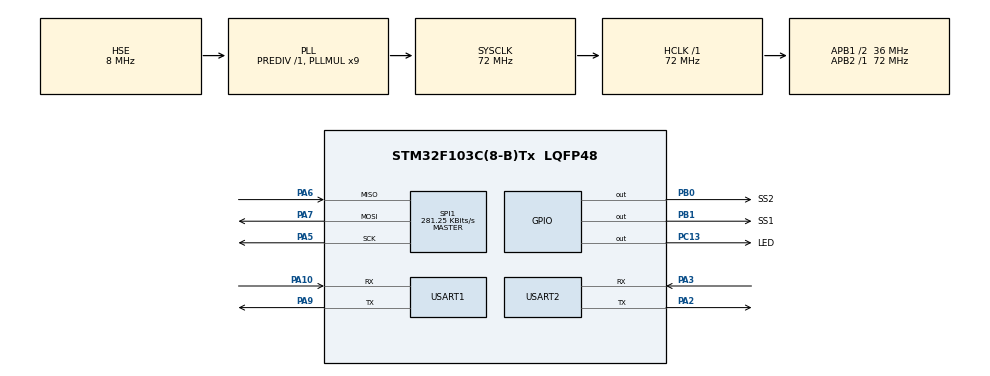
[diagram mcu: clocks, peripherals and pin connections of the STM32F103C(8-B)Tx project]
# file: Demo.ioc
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Dma.Request0=USART2_RX
Dma.Request1=USART1_RX
Dma.Request2=USART1_TX
Dma.Request3=SPI1_RX
Dma.Request4=SPI1_TX
Dma.SPI1_RX.3.Direction=DMA_PERIPH_TO_MEMORY
Dma.SPI1_RX.3.Instance=DMA1_Channel2
Dma.SPI1_RX.3.MemDataAlignment=DMA_MDATAALIGN_BYTE
Dma.SPI1_RX.3.MemInc=DMA_MINC_ENABLE
Dma.SPI1_RX.3.Mode=DMA_NORMAL
Dma.SPI1_RX.3.PeriphDataAlignment=DMA_PDATAALIGN_BYTE
Dma.SPI1_RX.3.PeriphInc=DMA_PINC_DISABLE
Dma.SPI1_RX.3.Priority=DMA_PRIORITY_LOW
Dma.SPI1_TX.4.Direction=DMA_MEMORY_TO_PERIPH
Dma.SPI1_TX.4.Instance=DMA1_Channel3
Dma.SPI1_TX.4.MemDataAlignment=DMA_MDATAALIGN_BYTE
Dma.SPI1_TX.4.MemInc=DMA_MINC_ENABLE
Dma.SPI1_TX.4.Mode=DMA_NORMAL
Dma.SPI1_TX.4.PeriphDataAlignment=DMA_PDATAALIGN_BYTE
Dma.SPI1_TX.4.PeriphInc=DMA_PINC_DISABLE
Dma.SPI1_TX.4.Priority=DMA_PRIORITY_LOW
Dma.USART1_RX.1.Direction=DMA_PERIPH_TO_MEMORY
Dma.USART1_RX.1.Instance=DMA1_Channel5
Dma.USART1_RX.1.MemDataAlignment=DMA_MDATAALIGN_BYTE
Dma.USART1_RX.1.MemInc=DMA_MINC_ENABLE
Dma.USART1_RX.1.Mode=DMA_NORMAL
Dma.USART1_RX.1.PeriphDataAlignment=DMA_PDATAALIGN_BYTE
Dma.USART1_RX.1.PeriphInc=DMA_PINC_DISABLE
Dma.USART1_RX.1.Priority=DMA_PRIORITY_LOW
Dma.USART1_TX.2.Direction=DMA_MEMORY_TO_PERIPH
Dma.USART1_TX.2.Instance=DMA1_Channel4
Dma.USART1_TX.2.MemDataAlignment=DMA_MDATAALIGN_BYTE
Dma.USART1_TX.2.MemInc=DMA_MINC_ENABLE
Dma.USART1_TX.2.Mode=DMA_CIRCULAR
Dma.USART1_TX.2.PeriphDataAlignment=DMA_PDATAALIGN_BYTE
Dma.USART1_TX.2.PeriphInc=DMA_PINC_DISABLE
Dma.USART1_TX.2.Priority=DMA_PRIORITY_LOW
Dma.USART2_RX.0.Direction=DMA_PERIPH_TO_MEMORY
Dma.USART2_RX.0.Instance=DMA1_Channel6
Dma.USART2_RX.0.MemDataAlignment=DMA_MDATAALIGN_BYTE
Dma.USART2_RX.0.MemInc=DMA_MINC_ENABLE
Dma.USART2_RX.0.Mode=DMA_NORMAL
Dma.USART2_RX.0.PeriphDataAlignment=DMA_PDATAALIGN_BYTE
Dma.USART2_RX.0.PeriphInc=DMA_PINC_DISABLE
Dma.USART2_RX.0.Priority=DMA_PRIORITY_LOW
Mcu.Family=STM32F1
Mcu.Name=STM32F103C(8-B)Tx
Mcu.Package=LQFP48
NVIC.DMA1_Channel2_IRQn=true\:0\:0\:false\:false\:true\:false\:true
NVIC.DMA1_Channel3_IRQn=true\:0\:0\:false\:false\:true\:false\:true
NVIC.DMA1_Channel4_IRQn=true\:0\:0\:false\:false\:true\:false\:true
NVIC.DMA1_Channel5_IRQn=true\:0\:0\:false\:false\:true\:false\:true
NVIC.DMA1_Channel6_IRQn=true\:0\:0\:false\:false\:true\:false\:true
NVIC.PriorityGroup=NVIC_PRIORITYGROUP_4
NVIC.SPI1_IRQn=true\:0\:0\:false\:false\:true\:true\:true
NVIC.TIM1_UP_IRQn=true\:0\:0\:false\:false\:true\:true\:true
PA10.Mode=Asynchronous
PA10.Signal=USART1_RX
PA13.Mode=Serial_Wire
PA13.Signal=SYS_JTMS-SWDIO
PA14.Mode=Serial_Wire
PA14.Signal=SYS_JTCK-SWCLK
PA2.Mode=Asynchronous
PA2.Signal=USART2_TX
PA3.Mode=Asynchronous
PA3.Signal=USART2_RX
PA5.Mode=Full_Duplex_Master
PA5.Signal=SPI1_SCK
PA6.Mode=Full_Duplex_Master
PA6.Signal=SPI1_MISO
PA7.Mode=Full_Duplex_Master
PA7.Signal=SPI1_MOSI
PA9.Mode=Asynchronous
PA9.Signal=USART1_TX
PB0.GPIO_Label=SS2
PB0.GPIO_PuPd=GPIO_PULLUP
PB0.Signal=GPIO_Output
PB1.GPIO_Label=SS1
PB1.GPIO_PuPd=GPIO_PULLUP
PB1.Signal=GPIO_Output
PC13-TAMPER-RTC.GPIO_Label=LED
PC13-TAMPER-RTC.Signal=GPIO_Output
PD0-OSC_IN.Mode=HSE-External-Oscillator
PD0-OSC_IN.Signal=RCC_OSC_IN
PD1-OSC_OUT.Mode=HSE-External-Oscillator
PD1-OSC_OUT.Signal=RCC_OSC_OUT
ProjectManager.HeapSize=0x200
ProjectManager.StackSize=0x400
ProjectManager.TargetToolchain=Makefile
RCC.AHBFreq_Value=72000000
RCC.APB1CLKDivider=RCC_HCLK_DIV2
RCC.APB1Freq_Value=36000000
RCC.APB1TimFreq_Value=72000000
RCC.APB2Freq_Value=72000000
RCC.APB2TimFreq_Value=72000000
RCC.HCLKFreq_Value=72000000
RCC.PLLMUL=RCC_PLL_MUL9
RCC.PLLSourceVirtual=RCC_PLLSOURCE_HSE
RCC.SYSCLKFreq_VALUE=72000000
RCC.SYSCLKSource=RCC_SYSCLKSOURCE_PLLCLK
RCC.USBFreq_Value=72000000
SPI1.BaudRatePrescaler=SPI_BAUDRATEPRESCALER_256
SPI1.CLKPhase=SPI_PHASE_2EDGE
SPI1.CalculateBaudRate=281.25 KBits/s
SPI1.DataSize=SPI_DATASIZE_16BIT
SPI1.Direction=SPI_DIRECTION_2LINES
SPI1.Mode=SPI_MODE_MASTER
SPI1.VirtualType=VM_MASTER
TIM1.AutoReloadPreload=TIM_AUTORELOAD_PRELOAD_ENABLE
TIM1.Period=7200
TIM1.Prescaler=1000
USART1.VirtualMode=VM_ASYNC
USART2.VirtualMode=VM_ASYNC
VP_TIM1_VS_ClockSourceINT.Mode=Internal
board=custom

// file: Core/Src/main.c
/* USER CODE BEGIN Header */
/**
  ******************************************************************************
  * @file           : main.c
  * @brief          : Main program body
  ******************************************************************************
  * @attention
  *
  * <h2><center>&copy; Copyright (c) 2020 STMicroelectronics.
  * All rights reserved.</center></h2>
  *
  * This software component is licensed by ST under BSD 3-Clause license,
  * the "License"; You may not use this file except in compliance with the
  * License. You may obtain a copy of the License at:
  *                        opensource.org/licenses/BSD-3-Clause
  *
  ******************************************************************************
  */
 #include <stdbool.h>
/* USER CODE END Header */
#include "main.h"

/* USER CODE BEGIN Includes */
#include "user_spi.h"
#include "linkfile.h"
uint8_t Rx_data[2];
uint8_t buffer[2];

volatile  bool Transfer_cplt = false;
/* USER CODE END Includes */

/* USER CODE BEGIN PM */
 SPIConf* SPI_Sensor ;
/* USER CODE END PM */

SPI_HandleTypeDef hspi1;
DMA_HandleTypeDef hdma_spi1_rx;
DMA_HandleTypeDef hdma_spi1_tx;

TIM_HandleTypeDef htim1;

UART_HandleTypeDef huart1;
UART_HandleTypeDef huart2;
DMA_HandleTypeDef hdma_usart1_rx;
DMA_HandleTypeDef hdma_usart1_tx;
DMA_HandleTypeDef hdma_usart2_rx;

void SystemClock_Config(void);
static void MX_GPIO_Init(void);
static void MX_DMA_Init(void);
static void MX_USART1_UART_Init(void);
static void MX_USART2_UART_Init(void);
static void MX_SPI1_Init(void);
static void MX_TIM1_Init(void);

/* USER CODE BEGIN 0 */
HAL_StatusTypeDef HAL_UART_DMA_Tx_Stop(UART_HandleTypeDef *huart)
{
  uint32_t dmarequest = 0x00U;
  dmarequest = HAL_IS_BIT_SET(huart->Instance->CR3, USART_CR3_DMAT);
  if((huart->gState == HAL_UART_STATE_BUSY_TX) && dmarequest)
  {
    CLEAR_BIT(huart->Instance->CR3, USART_CR3_DMAT);

    /* Abort the UART DMA Tx channel */
    if(huart->hdmatx != NULL)
    {
      HAL_DMA_Abort(huart->hdmatx);
    }
    //UART_EndTxTransfer(huart);
		  /* Disable TXEIE and TCIE interrupts */
		CLEAR_BIT(huart->Instance->CR1, (USART_CR1_TXEIE | USART_CR1_TCIE));
		huart->gState = HAL_UART_STATE_READY;

		return HAL_OK;
  }
	else return HAL_ERROR;

}
//TX uart phai set mode Circular moiw vao duoc che do nay
void HAL_UART_TxCpltCallback(UART_HandleTypeDef *huart)
{
  if (huart->Instance == USART1){
    HAL_UART_DMA_Tx_Stop(&huart1);
  }

}

void HAL_UART_RxCpltCallback(UART_HandleTypeDef *huart)
{
  if (huart->Instance == USART1){
     Transfer_cplt = true ;
     __HAL_UART_FLUSH_DRREGISTER (&huart1); // Clear the buffer to prevent overrun
  }
}
/* USER CODE END 0 */

int main(void)
{

  /* MCU Configuration--------------------------------------------------------*/

  /* Reset of all peripherals, Initializes the Flash interface and the Systick. */
  HAL_Init();

  /* Configure the system clock */
  SystemClock_Config();

  /* Initialize all configured peripherals */
  MX_GPIO_Init();
  MX_DMA_Init();
  MX_USART1_UART_Init();
  MX_USART2_UART_Init();
  MX_SPI1_Init();
  MX_TIM1_Init();
  /* USER CODE BEGIN 2 */
  SPI_Sensor = user_spi_creat(&hspi1);
  HAL_TIM_Base_Start_IT(&htim1); //goi ham này để begin interrup
  HAL_UART_Receive_DMA(&huart1, (uint8_t *)Rx_data, 2); //
  /* USER CODE END 2 */

  /* Infinite loop */
  while (1)
  {

  }
}

void SystemClock_Config(void)
{
  RCC_OscInitTypeDef RCC_OscInitStruct = {0};
  RCC_ClkInitTypeDef RCC_ClkInitStruct = {0};

  /** Initializes the RCC Oscillators according to the specified parameters
  * in the RCC_OscInitTypeDef structure.
  */
  RCC_OscInitStruct.OscillatorType = RCC_OSCILLATORTYPE_HSE;
  RCC_OscInitStruct.HSEState = RCC_HSE_ON;
  RCC_OscInitStruct.HSEPredivValue = RCC_HSE_PREDIV_DIV1;
  RCC_OscInitStruct.HSIState = RCC_HSI_ON;
  RCC_OscInitStruct.PLL.PLLState = RCC_PLL_ON;
  RCC_OscInitStruct.PLL.PLLSource = RCC_PLLSOURCE_HSE;
  RCC_OscInitStruct.PLL.PLLMUL = RCC_PLL_MUL9;
  if (HAL_RCC_OscConfig(&RCC_OscInitStruct) != HAL_OK)
  {
    Error_Handler();
  }
  /** Initializes the CPU, AHB and APB buses clocks
  */
  RCC_ClkInitStruct.ClockType = RCC_CLOCKTYPE_HCLK|RCC_CLOCKTYPE_SYSCLK
                              |RCC_CLOCKTYPE_PCLK1|RCC_CLOCKTYPE_PCLK2;
  RCC_ClkInitStruct.SYSCLKSource = RCC_SYSCLKSOURCE_PLLCLK;
  RCC_ClkInitStruct.AHBCLKDivider = RCC_SYSCLK_DIV1;
  RCC_ClkInitStruct.APB1CLKDivider = RCC_HCLK_DIV2;
  RCC_ClkInitStruct.APB2CLKDivider = RCC_HCLK_DIV1;

  if (HAL_RCC_ClockConfig(&RCC_ClkInitStruct, FLASH_LATENCY_2) != HAL_OK)
  {
    Error_Handler();
  }
}

static void MX_SPI1_Init(void)
{

  /* SPI1 parameter configuration*/
  hspi1.Instance = SPI1;
  hspi1.Init.Mode = SPI_MODE_MASTER;
  hspi1.Init.Direction = SPI_DIRECTION_2LINES;
  hspi1.Init.DataSize = SPI_DATASIZE_16BIT;
  hspi1.Init.CLKPolarity = SPI_POLARITY_LOW;
  hspi1.Init.CLKPhase = SPI_PHASE_2EDGE;
  hspi1.Init.NSS = SPI_NSS_SOFT;
  hspi1.Init.BaudRatePrescaler = SPI_BAUDRATEPRESCALER_256;
  hspi1.Init.FirstBit = SPI_FIRSTBIT_MSB;
  hspi1.Init.TIMode = SPI_TIMODE_DISABLE;
  hspi1.Init.CRCCalculation = SPI_CRCCALCULATION_DISABLE;
  hspi1.Init.CRCPolynomial = 10;
  if (HAL_SPI_Init(&hspi1) != HAL_OK)
  {
    Error_Handler();
  }

}

static void MX_TIM1_Init(void)
{

  TIM_ClockConfigTypeDef sClockSourceConfig = {0};
  TIM_MasterConfigTypeDef sMasterConfig = {0};

  /* USER CODE BEGIN TIM1_Init 1 */
//T Time = Prescaler *
  /* USER CODE END TIM1_Init 1 */
  htim1.Instance = TIM1;
  htim1.Init.Prescaler = 1000;
  htim1.Init.CounterMode = TIM_COUNTERMODE_UP;
  htim1.Init.Period = 718;
  htim1.Init.ClockDivision = TIM_CLOCKDIVISION_DIV1;
  htim1.Init.RepetitionCounter = 0;
  htim1.Init.AutoReloadPreload = TIM_AUTORELOAD_PRELOAD_ENABLE;
  if (HAL_TIM_Base_Init(&htim1) != HAL_OK)
  {
    Error_Handler();
  }
  sClockSourceConfig.ClockSource = TIM_CLOCKSOURCE_INTERNAL;
  if (HAL_TIM_ConfigClockSource(&htim1, &sClockSourceConfig) != HAL_OK)
  {
    Error_Handler();
  }
  sMasterConfig.MasterOutputTrigger = TIM_TRGO_RESET;
  sMasterConfig.MasterSlaveMode = TIM_MASTERSLAVEMODE_DISABLE;
  if (HAL_TIMEx_MasterConfigSynchronization(&htim1, &sMasterConfig) != HAL_OK)
  {
    Error_Handler();
  }

}

static void MX_USART1_UART_Init(void)
{

  huart1.Instance = USART1;
  huart1.Init.BaudRate = 115200;
  huart1.Init.WordLength = UART_WORDLENGTH_8B;
  huart1.Init.StopBits = UART_STOPBITS_1;
  huart1.Init.Parity = UART_PARITY_NONE;
  huart1.Init.Mode = UART_MODE_TX_RX;
  huart1.Init.HwFlowCtl = UART_HWCONTROL_NONE;
  huart1.Init.OverSampling = UART_OVERSAMPLING_16;
  if (HAL_UART_Init(&huart1) != HAL_OK)
  {
    Error_Handler();
  }

}

static void MX_USART2_UART_Init(void)
{

  huart2.Instance = USART2;
  huart2.Init.BaudRate = 115200;
  huart2.Init.WordLength = UART_WORDLENGTH_8B;
  huart2.Init.StopBits = UART_STOPBITS_1;
  huart2.Init.Parity = UART_PARITY_NONE;
  huart2.Init.Mode = UART_MODE_TX_RX;
  huart2.Init.HwFlowCtl = UART_HWCONTROL_NONE;
  huart2.Init.OverSampling = UART_OVERSAMPLING_16;
  if (HAL_UART_Init(&huart2) != HAL_OK)
  {
    Error_Handler();
  }

}

static void MX_DMA_Init(void)
{

  /* DMA controller clock enable */
  __HAL_RCC_DMA1_CLK_ENABLE();

  /* DMA interrupt init */
  /* DMA1_Channel2_IRQn interrupt configuration */
  HAL_NVIC_SetPriority(DMA1_Channel2_IRQn, 0, 0);
  HAL_NVIC_EnableIRQ(DMA1_Channel2_IRQn);
  /* DMA1_Channel3_IRQn interrupt configuration */
  HAL_NVIC_SetPriority(DMA1_Channel3_IRQn, 0, 0);
  HAL_NVIC_EnableIRQ(DMA1_Channel3_IRQn);
  /* DMA1_Channel4_IRQn interrupt configuration */
  HAL_NVIC_SetPriority(DMA1_Channel4_IRQn, 0, 0);
  HAL_NVIC_EnableIRQ(DMA1_Channel4_IRQn);
  /* DMA1_Channel5_IRQn interrupt configuration */
  HAL_NVIC_SetPriority(DMA1_Channel5_IRQn, 0, 0);
  HAL_NVIC_EnableIRQ(DMA1_Channel5_IRQn);
  /* DMA1_Channel6_IRQn interrupt configuration */
  HAL_NVIC_SetPriority(DMA1_Channel6_IRQn, 0, 0);
  HAL_NVIC_EnableIRQ(DMA1_Channel6_IRQn);

}

static void MX_GPIO_Init(void)
{
  GPIO_InitTypeDef GPIO_InitStruct = {0};

  /* GPIO Ports Clock Enable */
  __HAL_RCC_GPIOC_CLK_ENABLE();
  __HAL_RCC_GPIOD_CLK_ENABLE();
  __HAL_RCC_GPIOA_CLK_ENABLE();
  __HAL_RCC_GPIOB_CLK_ENABLE();

  /*Configure GPIO pin Output Level */
  HAL_GPIO_WritePin(LED_GPIO_Port, LED_Pin, GPIO_PIN_RESET);

  /*Configure GPIO pin Output Level */
  HAL_GPIO_WritePin(GPIOB, SS2_Pin|SS1_Pin, GPIO_PIN_RESET);

  /*Configure GPIO pin : LED_Pin */
  GPIO_InitStruct.Pin = LED_Pin;
  GPIO_InitStruct.Mode = GPIO_MODE_OUTPUT_PP;
  GPIO_InitStruct.Pull = GPIO_NOPULL;
  GPIO_InitStruct.Speed = GPIO_SPEED_FREQ_LOW;
  HAL_GPIO_Init(LED_GPIO_Port, &GPIO_InitStruct);

}

/* USER CODE BEGIN 4 */

void HAL_SPI_TxRxCpltCallback(SPI_HandleTypeDef *hspi){
  HAL_GPIO_TogglePin(LED_GPIO_Port,LED_Pin);
  spi_callback(SPI_Sensor);
}

//Ngat tranTimer
void HAL_TIM_PeriodElapsedCallback(TIM_HandleTypeDef* htim){
  if(htim->Instance == TIM1 ){
    //tràn timer
    spi_user_send_data(SPI_Sensor);
  }
}

/* USER CODE END 4 */

void Error_Handler(void)
{
}

/************************ (C) COPYRIGHT STMicroelectronics *****END OF FILE****/
